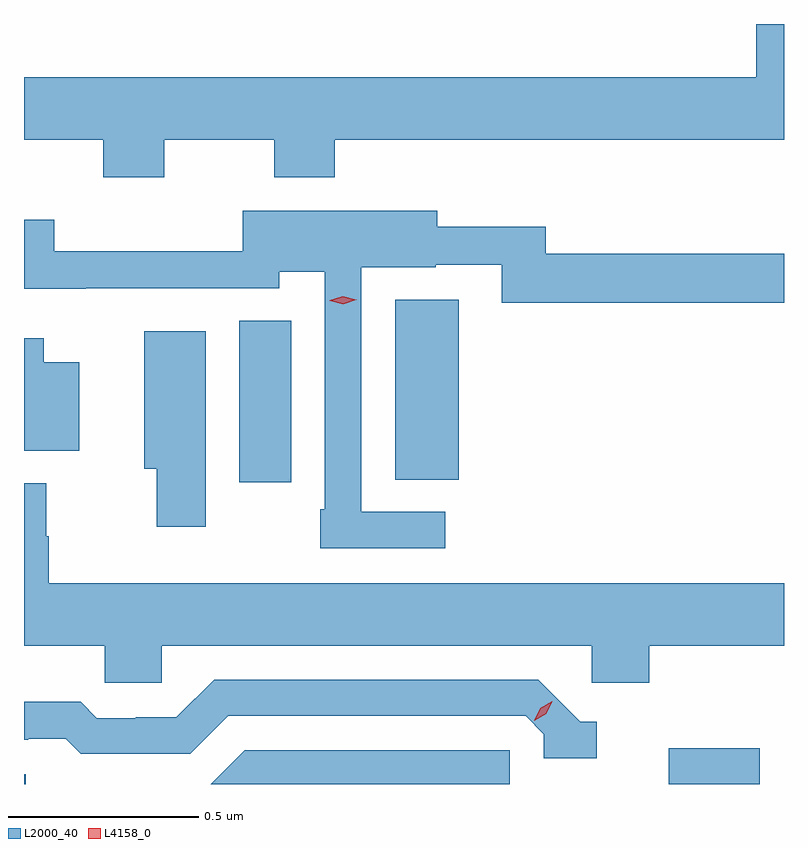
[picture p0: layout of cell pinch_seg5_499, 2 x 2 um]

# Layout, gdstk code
import gdstk
lib = gdstk.Library(unit=1e-6, precision=1e-09)
def R(c, l, rs):  # rectangles x0, y0, x1, y1
    for r in rs: c.add(gdstk.rectangle(r[:2], r[2:], *l))
def P(c, l, *ps):  # polygons
    for p in ps: c.add(gdstk.Polygon(p, *l))
L2000_40 = (2000, 40)
L4158_0 = (4158, 0)

pinch_seg5_499 = lib.new_cell('pinch_seg5_499')
R(pinch_seg5_499, L2000_40, [(892.944,836.416,892.948,836.442), (894.641,836.416,894.88,836.51), (893.51,837.21,893.647,837.635), (893.921,837.217,894.088,837.691)])
P(pinch_seg5_499, L2000_40, [(893.313,838.112),(893.602,838.112),(893.602,838.013),(893.762,838.013),(893.762,838.112),(894.944,838.112),(894.944,838.416),(894.871,838.416),(894.871,838.276),(892.944,838.276),(892.944,838.112),(893.153,838.112),(893.153,838.013),(893.313,838.013)],
  [(894.052,837.132),(893.832,837.132),(893.832,837.776),(894.027,837.776),(894.027,837.783),(894.201,837.783),(894.201,837.682),(894.944,837.682),(894.944,837.811),(894.317,837.811),(894.317,837.882),(894.031,837.882),(894.031,837.925),(893.52,837.925),(893.52,837.818),(893.024,837.818),(893.024,837.901),(892.944,837.901),(892.944,837.719),(893.107,837.719),(893.107,837.72),(893.616,837.72),(893.616,837.764),(893.736,837.764),(893.736,837.139),(893.724,837.139),(893.724,837.036),(894.052,837.036)],
  [(893.422,837.607),(893.261,837.607),(893.261,837.245),(893.293,837.245),(893.293,837.093),(893.422,837.093)],
  [(893.089,837.526),(892.996,837.526),(892.996,837.589),(892.944,837.589),(892.944,837.293),(893.089,837.293)],
  [(893.307,836.78),(894.438,836.78),(894.438,836.682),(894.59,836.682),(894.59,836.78),(894.944,836.78),(894.944,836.944),(893.009,836.944),(893.009,837.068),(893.002,837.068),(893.002,837.208),(892.944,837.208),(892.944,836.78),(893.157,836.78),(893.157,836.682),(893.307,836.682)],
  [(894.451,836.58),(894.408,836.58),(894.297,836.691),(893.444,836.691),(893.345,836.592),(893.238,836.592),(893.238,836.589),(893.135,836.589),(893.093,836.632),(892.944,836.632),(892.944,836.532),(892.955,836.532),(892.955,836.535),(893.054,836.535),(893.093,836.496),(893.382,836.496),(893.481,836.595),(894.264,836.595),(894.312,836.547),(894.312,836.484),(894.451,836.484)],
  [(894.222,836.505),(893.525,836.505),(893.436,836.416),(894.222,836.416)])
P(pinch_seg5_499, L4158_0, [(893.784,837.679),(893.749,837.688),(893.749,837.688),(893.749,837.689),(893.783,837.699),(893.818,837.69),(893.819,837.69),(893.818,837.69)],
  [(894.287,836.582),(894.287,836.582),(894.303,836.615),(894.334,836.634),(894.334,836.634),(894.334,836.634),(894.318,836.601),(894.287,836.582)])

lib.write_gds('pinch_seg5_499.gds')
